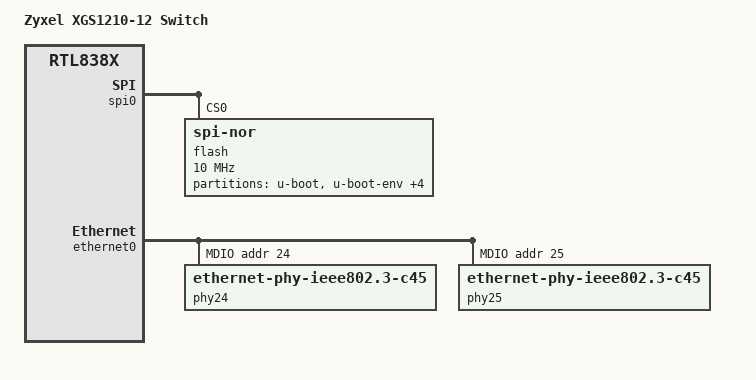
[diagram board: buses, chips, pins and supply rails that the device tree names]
// SPDX-License-Identifier: GPL-2.0-or-later
/dts-v1/;

#include "rtl930x.dtsi"

#include <dt-bindings/input/input.h>
#include <dt-bindings/gpio/gpio.h>

/ {
	compatible = "zyxel,xgs1210-12", "realtek,rtl838x-soc";
	model = "Zyxel XGS1210-12 Switch";

	// mw.l 0xb8003308 0x00200000 active low toggles PHY reset
	chosen {
		bootargs = "console=ttyS0,115200";
	};
};

&spi0 {
	status = "okay";
	flash@0 {
		compatible = "jedec,spi-nor";
		reg = <0>;
		spi-max-frequency = <10000000>;

		partitions {
			compatible = "fixed-partitions";
			#address-cells = <1>;
			#size-cells = <1>;

			partition@0 {
				label = "u-boot";
				reg = <0x0 0xe0000>;
				read-only;
			};
			partition@e0000 {
				label = "u-boot-env";
				reg = <0xe0000 0x10000>;
				read-only;
			};
			partition@f0000 {
				label = "u-boot-env2";
				reg = <0xf0000 0x10000>;
				read-only;
			};
			partition@100000 {
				label = "jffs";
				reg = <0x100000 0x100000>;
			};
			partition@200000 {
				label = "jffs2";
				reg = <0x200000 0x100000>;
			};
			partition@300000 {
				label = "firmware";
				reg = <0x300000 0xd00000>;
				compatible = "denx,uimage";
			};
		};
	};
};

&ethernet0 {
	mdio: mdio-bus {
		compatible = "realtek,rtl838x-mdio";
		regmap = <&ethernet0>;
		#address-cells = <1>;
		#size-cells = <0>;

		/* External RTL8218D PHY */
		EXTERNAL_PHY(0)
		EXTERNAL_PHY(1)
		EXTERNAL_PHY(2)
		EXTERNAL_PHY(3)
		EXTERNAL_PHY(4)
		EXTERNAL_PHY(5)
		EXTERNAL_PHY(6)
		EXTERNAL_PHY(7)

		/* External RTL8226B PHYs */
		phy24: ethernet-phy@24 {
			reg = <24>;
			compatible = "ethernet-phy-ieee802.3-c45";
		};

		phy25: ethernet-phy@25 {
			reg = <25>;
			compatible = "ethernet-phy-ieee802.3-c45";
		};
	};
};

&switch0 {
	ports {
		#address-cells = <1>;
		#size-cells = <0>;

		SWITCH_PORT(0, 1, qsgmii)
		SWITCH_PORT(1, 2, qsgmii)
		SWITCH_PORT(2, 3, qsgmii)
		SWITCH_PORT(3, 4, qsgmii)
		SWITCH_PORT(4, 5, qsgmii)
		SWITCH_PORT(5, 6, qsgmii)
		SWITCH_PORT(6, 7, qsgmii)
		SWITCH_PORT(7, 8, qsgmii)

		SWITCH_PORT(24, 9, qsgmii)
		SWITCH_PORT(25, 10, qsgmii)

		/* CPU Port */
		port@28 {
			ethernet = <&ethernet0>;
			reg = <28>;
			phy-mode = "internal";
			fixed-link {
				speed = <1000>;
				full-duplex;
			};
		};
	};
};
